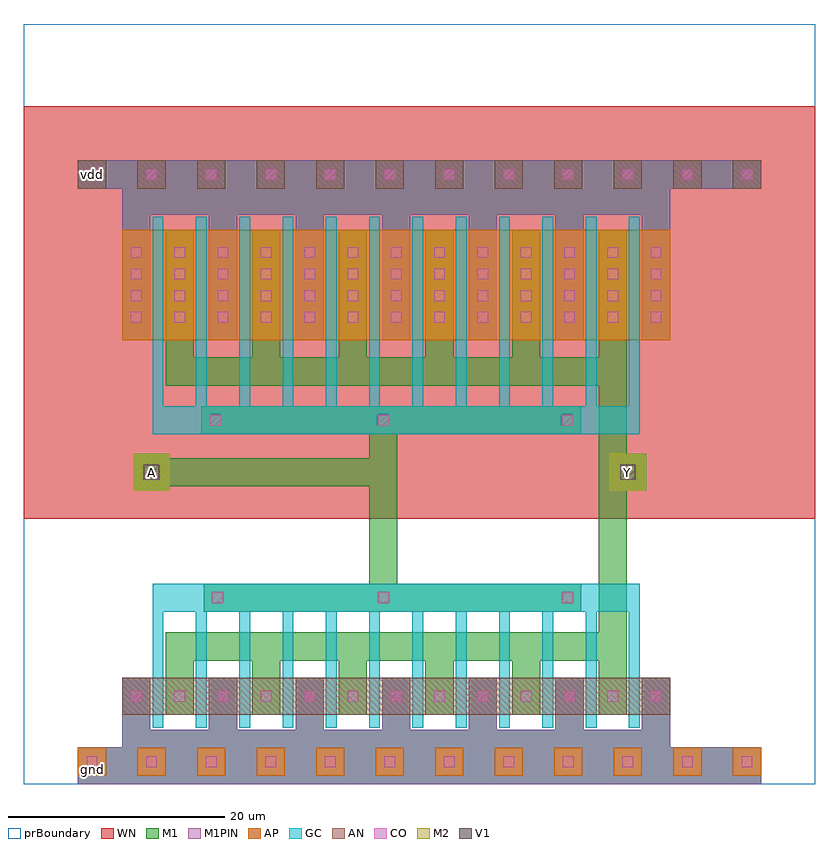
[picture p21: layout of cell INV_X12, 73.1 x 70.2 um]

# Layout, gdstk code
import gdstk
lib = gdstk.Library(unit=1e-6, precision=1e-09)
def R(c, l, rs):  # rectangles x0, y0, x1, y1
    for r in rs: c.add(gdstk.rectangle(r[:2], r[2:], *l))
def A(c, l, x, y, w, h, nx, ny, dx, dy):  # array of equal rectangles
    R(c, l, [(x+i*dx, y+j*dy, x+i*dx+w, y+j*dy+h) for i in range(nx) for j in range(ny)])
def P(c, l, *ps):  # polygons
    for p in ps: c.add(gdstk.Polygon(p, *l))
AP = (3, 1)
AN = (3, 2)
GC = (8, 1)
CO = (11, 0)
M1 = (13, 0)
V1 = (19, 0)
M2 = (20, 0)
M1PIN = (48, 1)
WN = (140, 0)
prBoundary = (235, 4)

inv_x12 = lib.new_cell('INV_X12')
A(inv_x12, AP, 5, 0.75, 2.6, 2.6, 12, 1, 5.5, 0)
R(inv_x12, AP, [(9.1,41,59.7,51.2)])
A(inv_x12, AN, 5, 55, 2.6, 2.6, 12, 1, 5.5, 0)
R(inv_x12, AN, [(9.1,6.4,59.7,9.8)])
P(inv_x12, GC, [(11.9,5.2),(11.9,18.5),(56.9,18.5),(56.9,5.2),(55.9,5.2),(55.9,15.9),(52.9,15.9),(52.9,5.2),(51.9,5.2),(51.9,15.9),(48.9,15.9),(48.9,5.2),(47.9,5.2),(47.9,15.9),(44.9,15.9),(44.9,5.2),(43.9,5.2),(43.9,15.9),(40.9,15.9),(40.9,5.2),(39.9,5.2),(39.9,15.9),(36.9,15.9),(36.9,5.2),(35.9,5.2),(35.9,15.9),(32.9,15.9),(32.9,5.2),(31.9,5.2),(31.9,15.9),(28.9,15.9),(28.9,5.2),(27.9,5.2),(27.9,15.9),(24.9,15.9),(24.9,5.2),(23.9,5.2),(23.9,15.9),(20.9,15.9),(20.9,5.2),(19.9,5.2),(19.9,15.9),(16.9,15.9),(16.9,5.2),(15.9,5.2),(15.9,15.9),(12.9,15.9),(12.9,5.2)],
  [(11.9,32.3),(11.9,52.4),(12.9,52.4),(12.9,34.9),(15.9,34.9),(15.9,52.4),(16.9,52.4),(16.9,34.9),(19.9,34.9),(19.9,52.4),(20.9,52.4),(20.9,34.9),(23.9,34.9),(23.9,52.4),(24.9,52.4),(24.9,34.9),(27.9,34.9),(27.9,52.4),(28.9,52.4),(28.9,34.9),(31.9,34.9),(31.9,52.4),(32.9,52.4),(32.9,34.9),(35.9,34.9),(35.9,52.4),(36.9,52.4),(36.9,34.9),(39.9,34.9),(39.9,52.4),(40.9,52.4),(40.9,34.9),(43.9,34.9),(43.9,52.4),(44.9,52.4),(44.9,34.9),(47.9,34.9),(47.9,52.4),(48.9,52.4),(48.9,34.9),(51.9,34.9),(51.9,52.4),(52.9,52.4),(52.9,34.9),(55.9,34.9),(55.9,52.4),(56.9,52.4),(56.9,32.3)])
A(inv_x12, CO, 5.8, 1.55, 1, 1, 12, 2, 5.5, 54.25)
A(inv_x12, CO, 9.9, 7.6, 1, 1, 13, 2, 4, 35)
A(inv_x12, CO, 9.9, 44.6, 1, 1, 13, 3, 4, 2)
R(inv_x12, CO, [(17.4,16.7,18.4,17.7), (32.7,16.7,33.7,17.7), (49.7,16.7,50.7,17.7), (17.2,33.1,18.2,34.1), (32.7,33.1,33.7,34.1), (49.7,33.1,50.7,34.1)])
R(inv_x12, M1, [(5,2.6,9.1,3.4), (59.7,2.6,68.1,3.4)])
P(inv_x12, M1, [(5,0),(5,2.6),(9.1,2.6),(9.1,9.8),(11.7,9.8),(11.7,5),(17.1,5),(17.1,9.8),(19.7,9.8),(19.7,5),(25.1,5),(25.1,9.8),(27.7,9.8),(27.7,5),(33.1,5),(33.1,9.8),(35.7,9.8),(35.7,5),(41.1,5),(41.1,9.8),(43.7,9.8),(43.7,5),(49.1,5),(49.1,9.8),(51.7,9.8),(51.7,5),(57.1,5),(57.1,9.8),(59.7,9.8),(59.7,2.6),(68.1,2.6),(68.1,0)],
  [(16.6,15.9),(16.6,18.5),(31.9,18.5),(31.9,27.5),(13.5,27.5),(13.5,27.1),(10.1,27.1),(10.1,30.5),(13.5,30.5),(13.5,30.1),(31.9,30.1),(31.9,32.3),(16.4,32.3),(16.4,34.9),(51.5,34.9),(51.5,32.3),(34.5,32.3),(34.5,18.5),(51.5,18.5),(51.5,15.9)],
  [(13.1,6.4),(13.1,14),(53.1,14),(53.1,36.8),(13.1,36.8),(13.1,51.2),(15.7,51.2),(15.7,39.4),(21.1,39.4),(21.1,51.2),(23.7,51.2),(23.7,39.4),(29.1,39.4),(29.1,51.2),(31.7,51.2),(31.7,39.4),(37.1,39.4),(37.1,51.2),(39.7,51.2),(39.7,39.4),(45.1,39.4),(45.1,51.2),(47.7,51.2),(47.7,39.4),(53.1,39.4),(53.1,51.2),(55.7,51.2),(55.7,30.5),(57.5,30.5),(57.5,27.1),(55.7,27.1),(55.7,6.4),(53.1,6.4),(53.1,11.4),(47.7,11.4),(47.7,6.4),(45.1,6.4),(45.1,11.4),(39.7,11.4),(39.7,6.4),(37.1,6.4),(37.1,11.4),(31.7,11.4),(31.7,6.4),(29.1,6.4),(29.1,11.4),(23.7,11.4),(23.7,6.4),(21.1,6.4),(21.1,11.4),(15.7,11.4),(15.7,6.4)],
  [(9.1,41),(9.1,55),(5,55),(5,57.6),(68.1,57.6),(68.1,55),(59.7,55),(59.7,41),(57.1,41),(57.1,52.6),(51.7,52.6),(51.7,41),(49.1,41),(49.1,52.6),(43.7,52.6),(43.7,41),(41.1,41),(41.1,52.6),(35.7,52.6),(35.7,41),(33.1,41),(33.1,52.6),(27.7,52.6),(27.7,41),(25.1,41),(25.1,52.6),(19.7,52.6),(19.7,41),(17.1,41),(17.1,52.6),(11.7,52.6),(11.7,41)])
R(inv_x12, V1, [(11.1,28.1,12.5,29.5), (55.1,28.1,56.5,29.5)])
R(inv_x12, M2, [(10.1,27.1,13.5,30.5), (54.1,27.1,57.5,30.5)])
A(inv_x12, M1PIN, 9.1, 5, 2.6, 4.8, 7, 1, 8, 0)
A(inv_x12, M1PIN, 9.1, 41, 2.6, 11.6, 7, 1, 8, 0)
R(inv_x12, M1PIN, [(5,0,68.1,3.4), (9.1,3.4,59.7,5), (9.1,52.6,59.7,55), (5,55,68.1,57.6)])
R(inv_x12, WN, [(0,24.5,73.1,62.6)])
R(inv_x12, prBoundary, [(0,0,73.1,70.2)])
inv_x12.add(gdstk.Label('A', (11.8,28.8), layer=49, texttype=0))
inv_x12.add(gdstk.Label('Y', (55.8,28.8), layer=49, texttype=0))
inv_x12.add(gdstk.Label('Y', (55.8,28.8), layer=48, texttype=0))
inv_x12.add(gdstk.Label('A', (11.8,28.8), layer=48, texttype=0))
inv_x12.add(gdstk.Label('vdd', (6.3,56.3), layer=48, texttype=0))
inv_x12.add(gdstk.Label('gnd', (6.3,1.3), layer=48, texttype=0))

lib.write_gds('INV_X12.gds')
